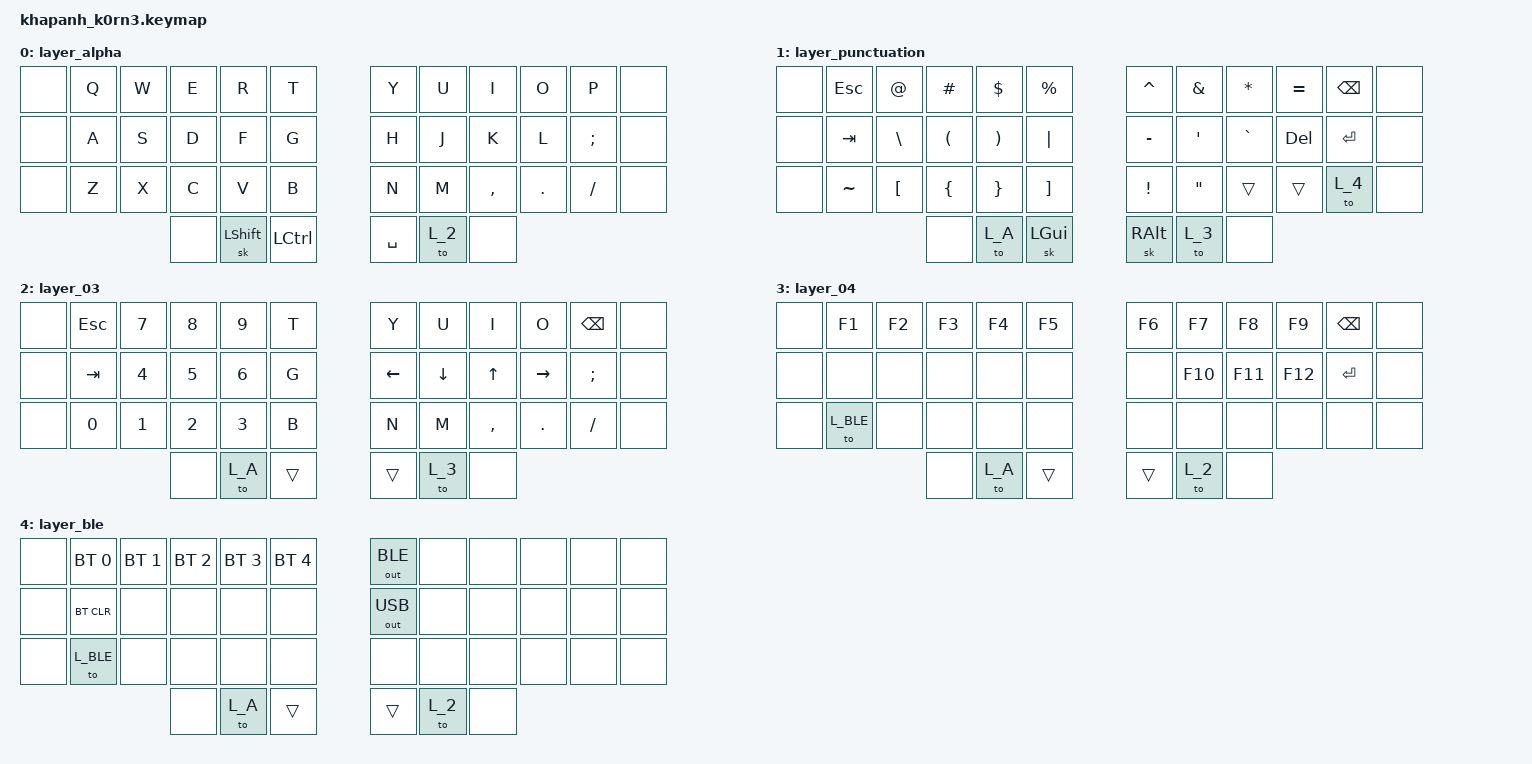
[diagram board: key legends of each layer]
#include <behaviors.dtsi>
#include <dt-bindings/zmk/keys.h>
#include <dt-bindings/zmk/bt.h>
#include <dt-bindings/zmk/outputs.h>

#define L_A 0
#define L_2 1
#define L_3 2
#define L_4	3
#define L_BLE	4

&mt {
    tapping-term-ms = <1000>;
};


/ {
	keymap {
		compatible = "zmk,keymap";
		
		layer_alpha {
			// -----------------------------------------------------------------------------------------
			// |     |  Q  |  W  |  E  |  R  |  T  |   |  Y  |  U   |  I  |  O  |  P  |     |
			// |     |  A  |  S  |  D  |  F  |  G  |   |  H  |  J   |  K  |  L  |  ;  |     |
			// |     |  Z  |  X  |  C  |  V  |  B  |   |  N  |  M   |  ,  |  .  |  /  |     |
			//                    |     | LWR | SPC |   | SPC | RSE  |     |
			bindings = <
				&none	&kp Q	&kp W	&kp E		&kp R	&kp T			&kp Y 		&kp U	&kp I    	&kp O  	&kp P   	&none
				&none	&kp A	&kp S	&kp D		&kp F	&kp G			&kp H 		&kp J	&kp K    	&kp L  	&kp SEMI	&none
				&none	&kp Z	&kp X	&kp C		&kp V	&kp B			&kp N 		&kp M	&kp COMMA	&kp DOT	&kp FSLH	&none
										&none 	&sk LSHFT 	&kp LCTRL   	&kp SPACE 	&to L_2	&none
			>;
        };
		
		layer_punctuation {
			// -----------------------------------------------------------------------------------------
			// |     | ESC |  @  |  #  |  $  |  %  |   |  ^  |  &   |  *  |  =  |  BS |     |
			// |     | TAB |  \  |  (  |  )  |  |  |   |  -  |  '   |  `  |     |     |     |
			// |     |  ~  |  [  |  {  |  }  |  ]  |   |  !  |  "   |  ,  |     |  L3 |     |
			//                    |    | LWR | SPC |   | RALT | L3  |     |
			bindings = <
				&none	&kp ESC		&kp AT		&kp POUND 	&kp DLLR 	&kp PRCNT		&kp CARET 	&kp AMPS 	&kp STAR 	&kp EQUAL 	&kp BSPC 	&none
				&none	&kp TAB		&kp BSLH	&kp LPAR 	&kp RPAR 	&kp PIPE		&kp MINUS 	&kp APOS	&kp GRAVE 	&kp DEL 	&kp RET		&none
				&none	&kp TILDE 	&kp LBKT	&kp LBRC	&kp RBRC 	&kp RBKT		&kp EXCL 	&kp DQT 	&trans 		&trans 		&to L_4		&none
												&none 		&to L_A 	&sk LGUI   		&sk RALT 	&to L_3		&none
			>;
		};
		
		layer_03 {
			// -----------------------------------------------------------------------------------------
			// |     | ESC |  7  |  8	|	9	|     |   |     |      |     |     |  BS |     |
			// |     | TAB |  4  |  5	|	6	|     |   |left |down  | up  |right|     |     |
			// |     |  ~  |  1  |  2	|	3	|     |   |     |      |     |     |  L3 |     |
			//                    |		|	LWR | SPC |   | SPC | RSE  |     |
			bindings = <
				&none	&kp ESC	  	&kp N7		&kp N8		&kp N9		&kp T			&kp Y 		&kp U		&kp I    	&kp O  		&kp BSPC   	&none
				&none  	&kp TAB		&kp N4		&kp N5		&kp N6		&kp G			&kp LEFT	&kp DOWN	&kp UP    	&kp RIGHT  	&kp SEMI	&none
				&none	&kp N0	 	&kp N1		&kp N2		&kp N3		&kp B			&kp N 		&kp M		&kp COMMA	&kp DOT		&kp FSLH	&none
												&none 		&to L_A 	&trans   		&trans 		&to L_3		&none
			>;
		};
		
		layer_04 {
			bindings = <
				&none	&kp F1		&kp F2		&kp F3		&kp F4		&kp F5			&kp F6 		&kp F7		&kp F8    	&kp F9 		&kp BSPC   	&none
				&none	&none		&none		&none		&none		&none			&none		&kp F10		&kp F11    	&kp F12  	&kp RET		&none
				&none	&to L_BLE	&none		&none		&none		&none			&none		&none		&none		&none		&none		&none
												&none 		&to L_A 	&trans   		&trans 		&to L_2		&none
			>;
		};

		layer_ble {
			bindings = <
				&none	&bt BT_SEL 0 	&bt BT_SEL 1 	&bt BT_SEL 2 	&bt BT_SEL 3	&bt BT_SEL 4			&out OUT_BLE		&none		&none    	&none 		&none   	&none
				&none	&bt BT_CLR		&none			&none			&none			&none					&out OUT_USB		&none		&none    	&none  		&none		&none
				&none	&to L_BLE		&none			&none			&none			&none					&none		&none		&none		&none		&none		&none
														&none 			&to L_A 		&trans					&trans 		&to L_2		&none
			>;
		};

	};
	combo {
		compatible = "zmk,combos";
		combo_esc {
                        timeout-ms = <10>;
                        key-positions = <1 2>;
                        layers = <0>;
                        bindings = <&kp ESC>;
                };
        
		combo_backspace {
                        timeout-ms = <100>;
                        key-positions = <20 21>;
                        layers = <0>;
                        bindings = <&kp BACKSPACE>;
                };
	};
};
